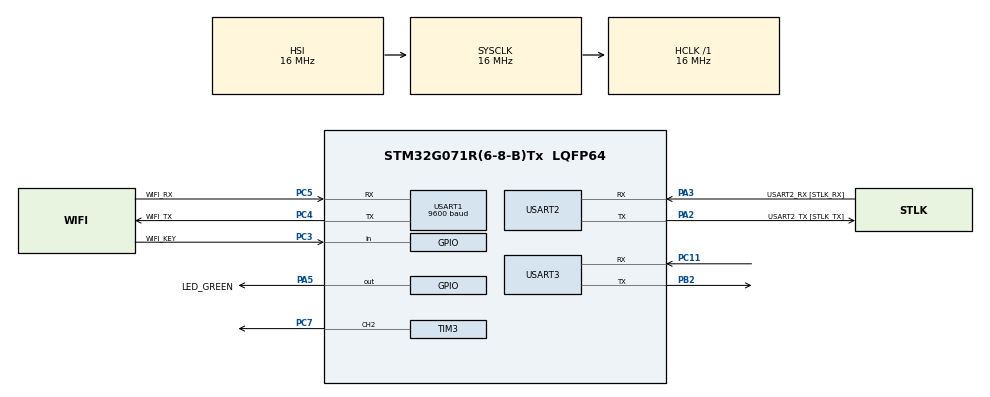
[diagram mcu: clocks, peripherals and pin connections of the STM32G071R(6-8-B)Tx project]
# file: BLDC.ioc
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Mcu.Family=STM32G0
Mcu.Name=STM32G071R(6-8-B)Tx
Mcu.Package=LQFP64
NVIC.TIM3_IRQn=true\:0\:0\:false\:false\:true\:true\:true
NVIC.USART1_IRQn=true\:0\:0\:false\:false\:true\:true\:true
PA13.GPIO_Label=TMS
PA13.Mode=Serial_Wire
PA13.Signal=SYS_SWDIO
PA14-BOOT0.GPIO_Label=TCK
PA14-BOOT0.Mode=Serial_Wire
PA14-BOOT0.Signal=SYS_SWCLK
PA2.GPIO_Label=USART2_TX [STLK_TX]
PA2.GPIO_PuPd=GPIO_PULLUP
PA2.Mode=Asynchronous
PA2.Signal=USART2_TX
PA3.GPIO_Label=USART2_RX [STLK_RX]
PA3.GPIO_PuPd=GPIO_PULLUP
PA3.Mode=Asynchronous
PA3.Signal=USART2_RX
PA5.GPIO_Label=LED_GREEN
PA5.GPIO_Speed=GPIO_SPEED_FREQ_HIGH
PA5.Signal=GPIO_Output
PB2.Mode=Asynchronous
PB2.Signal=USART3_TX
PC11.Mode=Asynchronous
PC11.Signal=USART3_RX
PC13.Mode=SYS_WakeUp1
PC13.Signal=SYS_WKUP2
PC14-OSC32_IN\ (PC14).Mode=LSE-External-Oscillator
PC14-OSC32_IN\ (PC14).Signal=RCC_OSC32_IN
PC15-OSC32_OUT\ (PC15).Mode=LSE-External-Oscillator
PC15-OSC32_OUT\ (PC15).Signal=RCC_OSC32_OUT
PC3.GPIO_Label=WIFI_KEY
PC3.GPIO_PuPd=GPIO_PULLUP
PC3.Signal=GPIO_Input
PC4.GPIO_Label=WIFI_TX
PC4.Mode=Asynchronous
PC4.Signal=USART1_TX
PC5.GPIO_Label=WIFI_RX
PC5.Mode=Asynchronous
PC5.Signal=USART1_RX
PC7.Signal=S_TIM3_CH2
PF0-OSC_IN\ (PF0).GPIO_Label=MCO
PF0-OSC_IN\ (PF0).Mode=HSE-External-Clock-Source
PF0-OSC_IN\ (PF0).Signal=RCC_OSC_IN
ProjectManager.HeapSize=0x200
ProjectManager.StackSize=0x400
ProjectManager.TargetToolchain=MDK-ARM V5.27
RCC.ADCFreq_Value=16000000
RCC.AHBFreq_Value=16000000
RCC.CortexFreq_Value=16000000
RCC.EXTERNAL_CLOCK_VALUE=12288000
RCC.HCLKFreq_Value=16000000
RCC.HSE_VALUE=8000000
RCC.HSI_VALUE=16000000
RCC.SYSCLKFreq_VALUE=16000000
RCC.VCOOutputFreq_Value=128000000
SH.S_TIM3_CH2.0=TIM3_CH2,PWM Generation2 CH2
TIM3.Channel-PWM\ Generation2\ CH2=TIM_CHANNEL_2
TIM3.OCFastMode_PWM-PWM\ Generation2\ CH2=TIM_OCFAST_ENABLE
TIM3.OCPolarity_2=TIM_OCPOLARITY_LOW
TIM3.Period=1000-1
TIM3.Prescaler=16-1
TIM3.Pulse-PWM\ Generation2\ CH2=50-1
USART1.BaudRate=9600
USART1.VirtualMode-Asynchronous=VM_ASYNC
USART2.VirtualMode-Asynchronous=VM_ASYNC
USART3.VirtualMode-Asynchronous=VM_ASYNC
VP_SYS_VS_DBSignals.Mode=DisableDeadBatterySignals
board=NUCLEO-G071RB

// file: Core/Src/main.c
/* USER CODE BEGIN Header */
/**
  ******************************************************************************
  * @file           : main.c
  * @brief          : Main program body
  ******************************************************************************
  * @attention
  *
  * <h2><center>&copy; Copyright (c) 2020 STMicroelectronics.
  * All rights reserved.</center></h2>
  *
  * This software component is licensed by ST under BSD 3-Clause license,
  * the "License"; You may not use this file except in compliance with the
  * License. You may obtain a copy of the License at:
  *                        opensource.org/licenses/BSD-3-Clause
  *
  ******************************************************************************
  */
/* USER CODE END Header */
#include "main.h"
#include "tim.h"
#include "usart.h"
#include "gpio.h"

/* USER CODE BEGIN Includes */
#include "stdio.h"
#include "mcu_api.h"
#include "wifi.h"
/* USER CODE END Includes */

/* USER CODE BEGIN PD */

//最小速度时，输出的PWM占空比
#define MIN_SPEED	10

//最大速度时，输出的PWM占空比
//最大速度输出的PWM占空比应该为100，我这里因为演示设置较低
#define MAX_SPEED	35

//关机输出占空比
#define	OFF_SPEED	5

//改变风扇转向输出的PWM值，在BLDC开发板中输出PWM在1%~2.5%之间改变电机转向
#define DIRECTION_CHANGE_PWM 15

//睡眠模式下，风速改变时间
#define SLEEP_TIME 700
/* USER CODE END PD */

/* USER CODE BEGIN PV */
//电扇状态结构体，全局变量
fan_status_t gs_fan_status = {
		.OnOff 						= FALSE,
		.e_fan_mode 			= nature,
		.speed 						= 10,
		.e_fan_direction 	= forward
	};

//上一次风扇速度
unsigned long last_fan_speed = 0;

//风速sleep模式下，改变风速计数值和风速改变标志
unsigned long fen_count = SLEEP_TIME;
_Bool sleep_speed_flag = TRUE;
/* USER CODE END PV */

void SystemClock_Config(void);
/* USER CODE BEGIN PFP */

void setup(void);
void connect_tuya(void);
void set_fan_speed(unsigned long speed);
void check_mode(void);
/* USER CODE END PFP */

/* USER CODE BEGIN 0 */
#ifdef __GUNC_
#define PUTCHAR_PROTOTYPE int __io_putchar(int ch)
#else
#define PUTCHAR_PROTOTYPE int fputc(int ch,FILE *f)
#endif  /* __GUNC_ */

/* USER CODE END 0 */

int main(void)
{

  /* MCU Configuration--------------------------------------------------------*/

  /* Reset of all peripherals, Initializes the Flash interface and the Systick. */
  HAL_Init();

  /* Configure the system clock */
  SystemClock_Config();

  /* Initialize all configured peripherals */
  MX_GPIO_Init();
  MX_USART1_UART_Init();
  MX_USART2_UART_Init();
  MX_USART3_UART_Init();
  MX_TIM3_Init();
  /* USER CODE BEGIN 2 */
	setup();
  /* USER CODE END 2 */

  /* Infinite loop */
  /* USER CODE BEGIN WHILE */
  while (1)
  {
		wifi_uart_service();
		connect_tuya();

		if (gs_fan_status.OnOff == TRUE) { //开机
			check_mode();
		} else {
			set_fan_speed(0);
		}

    /* USER CODE END WHILE */

  }
}

void SystemClock_Config(void)
{
  RCC_OscInitTypeDef RCC_OscInitStruct = {0};
  RCC_ClkInitTypeDef RCC_ClkInitStruct = {0};
  RCC_PeriphCLKInitTypeDef PeriphClkInit = {0};

  /** Configure the main internal regulator output voltage
  */
  HAL_PWREx_ControlVoltageScaling(PWR_REGULATOR_VOLTAGE_SCALE1);
  /** Initializes the RCC Oscillators according to the specified parameters
  * in the RCC_OscInitTypeDef structure.
  */
  RCC_OscInitStruct.OscillatorType = RCC_OSCILLATORTYPE_HSI;
  RCC_OscInitStruct.HSIState = RCC_HSI_ON;
  RCC_OscInitStruct.HSIDiv = RCC_HSI_DIV1;
  RCC_OscInitStruct.HSICalibrationValue = RCC_HSICALIBRATION_DEFAULT;
  RCC_OscInitStruct.PLL.PLLState = RCC_PLL_NONE;
  if (HAL_RCC_OscConfig(&RCC_OscInitStruct) != HAL_OK)
  {
    Error_Handler();
  }
  /** Initializes the CPU, AHB and APB buses clocks
  */
  RCC_ClkInitStruct.ClockType = RCC_CLOCKTYPE_HCLK|RCC_CLOCKTYPE_SYSCLK
                              |RCC_CLOCKTYPE_PCLK1;
  RCC_ClkInitStruct.SYSCLKSource = RCC_SYSCLKSOURCE_HSI;
  RCC_ClkInitStruct.AHBCLKDivider = RCC_SYSCLK_DIV1;
  RCC_ClkInitStruct.APB1CLKDivider = RCC_HCLK_DIV1;

  if (HAL_RCC_ClockConfig(&RCC_ClkInitStruct, FLASH_LATENCY_0) != HAL_OK)
  {
    Error_Handler();
  }
  /** Initializes the peripherals clocks
  */
  PeriphClkInit.PeriphClockSelection = RCC_PERIPHCLK_USART1|RCC_PERIPHCLK_USART2;
  PeriphClkInit.Usart1ClockSelection = RCC_USART1CLKSOURCE_PCLK1;
  PeriphClkInit.Usart2ClockSelection = RCC_USART2CLKSOURCE_PCLK1;
  if (HAL_RCCEx_PeriphCLKConfig(&PeriphClkInit) != HAL_OK)
  {
    Error_Handler();
  }
}

/* USER CODE BEGIN 4 */
PUTCHAR_PROTOTYPE{
	HAL_UART_Transmit(&huart3, (uint8_t*)&ch, 1, 0xFFFF);
	return ch;
}

/**
 * @brief  在进入while循环前，需要进行初始化的
 * @param[in] Null
 * @return Null
 * @note
 */
void setup(void)
{
	//优先输出频率为1000HZ，占空比为5%，使电机处于关机状态
	HAL_TIM_PWM_Start(&htim3,TIM_CHANNEL_2);
	__HAL_TIM_SET_COMPARE(&htim3, TIM_CHANNEL_2, (OFF_SPEED * 10));

	//打开与涂鸦三明治 Wi-Fi MCU 通信板（E3S）通信的UART1接收中断
	__HAL_UART_ENABLE_IT(&huart1, UART_IT_RXNE);

	//完成wifi协议初始化
	wifi_protocol_init();
}

/**
 * @brief  GPIOC3引脚拉低300ms后，进入SMART模式,LED提示联网状态
 * @param[in] Null
 * @return Null
 * @note
 */
void connect_tuya(void)
{
	//判断PC3是否拉低
	if (HAL_GPIO_ReadPin(WIFI_KEY_GPIO_Port, WIFI_KEY_Pin) == GPIO_PIN_RESET) {
		HAL_Delay(300);
		if (HAL_GPIO_ReadPin(WIFI_KEY_GPIO_Port, WIFI_KEY_Pin) == GPIO_PIN_RESET) {
			mcu_set_wifi_mode(0);
			printf("begin connect wifi\r\n");
		}
	}

	//获取当前连接状态，显示LED提示
	switch(mcu_get_wifi_work_state())
	{
				case SMART_CONFIG_STATE:	//SMART配网模式，快闪
						printf("smart config\r\n");
						HAL_GPIO_TogglePin(LED_GREEN_GPIO_Port, LED_GREEN_Pin);
						HAL_Delay(250);
				break;
				case AP_STATE:	//AP配网模式，慢闪
						printf("AP config\r\n");
						HAL_GPIO_TogglePin(LED_GREEN_GPIO_Port, LED_GREEN_Pin);
						HAL_Delay(500);
				break;
				case WIFI_NOT_CONNECTED: //常暗
						printf("connect wifi\r\n");
						HAL_GPIO_WritePin(LED_GREEN_GPIO_Port, LED_GREEN_Pin, GPIO_PIN_RESET);
				break;
				case WIFI_CONNECTED://常亮，连接到WIFI
						printf("connect success\r\n");
				case WIFI_CONN_CLOUD://常亮，连接到WIFI和云平台
						HAL_GPIO_WritePin(LED_GREEN_GPIO_Port, LED_GREEN_Pin, GPIO_PIN_SET);
				break;
				default:
						HAL_GPIO_WritePin(LED_GREEN_GPIO_Port, LED_GREEN_Pin, GPIO_PIN_RESET);
				break;
	}
}

/**
 * @brief  设置目标速度，输出对应PWM
 * @param[in] {speed} 要设置的电机速度值 0-100;
 * @return Null
 * @note
 */
void set_fan_speed(unsigned long speed)
{
	//输入为0，关闭电机。
	if (speed == 0) {
		__HAL_TIM_SET_COMPARE(&htim3, TIM_CHANNEL_2, (OFF_SPEED * 10));
		last_fan_speed = OFF_SPEED;
		return;
	}

	//判断输入值是否超出最大，最小值
	if (speed < MIN_SPEED) {
		//转速低于最小值，转速设置为最小值
		__HAL_TIM_SET_COMPARE(&htim3, TIM_CHANNEL_2, (MIN_SPEED * 10));
		last_fan_speed = MIN_SPEED;
	} else if (speed > MAX_SPEED) {
		//转速高于最大值，转速设置为最大值
		__HAL_TIM_SET_COMPARE(&htim3, TIM_CHANNEL_2, (MAX_SPEED * 10));
		last_fan_speed = MAX_SPEED;
	} else {
		__HAL_TIM_SET_COMPARE(&htim3, TIM_CHANNEL_2, (speed * 10));
		last_fan_speed = speed;
	}

	return;
}

/**
 * @brief  检查风扇运行模式
 * @param[in] Null
 * @return Null
 * @note
 */
void check_mode(void)
{
	//睡眠模式，风一会最小，一会为设置风速
	if (gs_fan_status.e_fan_mode == sleep) {
		if ((sleep_speed_flag == TRUE) && (fen_count >= SLEEP_TIME)) {

			set_fan_speed(gs_fan_status.speed);

			//计数清零，改变风速
			fen_count = 0;
			sleep_speed_flag = FALSE;
		} else if((sleep_speed_flag == FALSE) && (fen_count >= SLEEP_TIME)) {

			set_fan_speed(MIN_SPEED);

			//计数清零，改变风速
			fen_count = 0;
			sleep_speed_flag = TRUE;
		}

		fen_count++;
		HAL_Delay(10);
	} else {
		//正常模式，风速为设定速度
		if (last_fan_speed != gs_fan_status.speed) { //速度发生改变
				set_fan_speed(gs_fan_status.speed);
		}
	}
}

/**
 * @brief  改变一次电机方向
 * @param[in] Null
 * @return Null
 * @note
 */
void change_fan_direction(void)
{
	__HAL_TIM_SET_COMPARE(&htim3, TIM_CHANNEL_2, DIRECTION_CHANGE_PWM);
	HAL_Delay(1500);
	last_fan_speed = 0;
}
/* USER CODE END 4 */

void Error_Handler(void)
{
}

/************************ (C) COPYRIGHT STMicroelectronics *****END OF FILE****/
